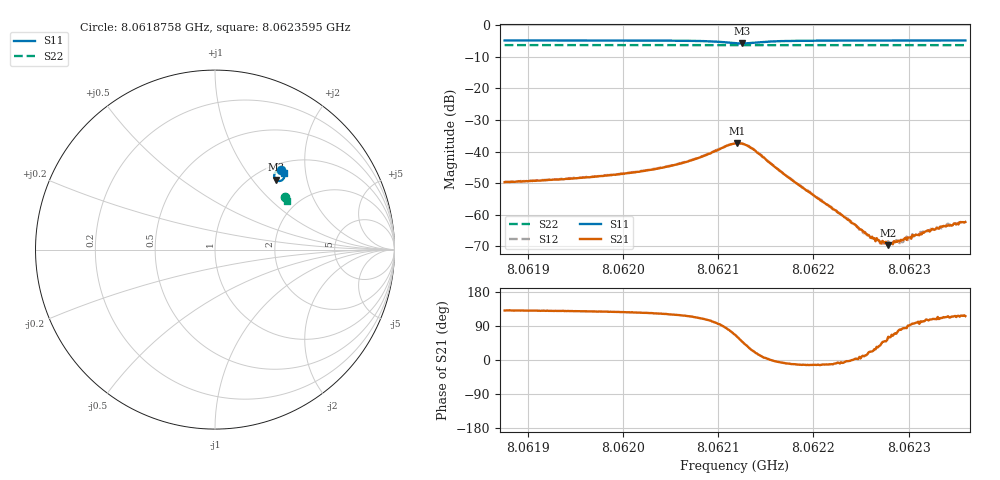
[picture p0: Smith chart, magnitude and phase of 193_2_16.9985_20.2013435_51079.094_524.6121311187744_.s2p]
#  HZ  S  RI  R  50.00
! Rohde & Schwarz Vector Network Analyzer
! Rohde-Schwarz,ZNB20-2Port,1311601062101988,3.16
! Created: UTC 3/20/2024, 11:00:44 PM
! freq[Hz]  re:S11  im:S11  re:S21  im:S21  re:S12  im:S12  re:S22  im:S22
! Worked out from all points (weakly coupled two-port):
!   401 points, 8.0618758 GHz to 8.0623595 GHz, reference 50 ohm
!   highest |S21| = -37.29 dB at 8.0621201 GHz (marker M1); lowest = -69.5 dB at 8.0622785 GHz (marker M2)
!   lowest |S11| = -5.7 dB at 8.0621249 GHz (marker M3), VSWR 3.13, Z = 62.2 + j66.1 ohm
!   |S11| at or under -10 dB: nowhere
!   |S22| runs from -6.3 to -6.3 dB; largest |S21 - S12| = 0.00099
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8.06187584e9  0.3683 0.4425  -0.00214 0.0025  -0.002 0.00262  0.3872 0.2944
8.06195685e9  0.3747 0.4365  -0.00243 0.00303  -0.00224 0.0032  0.39 0.2903
8.06199917e9  0.3785 0.4323  -0.00264 0.00356  -0.00246 0.00381  0.3915 0.2882
8.06203786e9  0.3826 0.4263  -0.00293 0.00459  -0.0027 0.00485  0.393 0.286
8.06207051e9  0.3862 0.4162  -0.00303 0.00653  -0.00267 0.00675  0.394 0.2841
8.06211766e9  0.3546 0.3825  0.00537 0.0124  0.00623 0.012  0.3935 0.281
8.06212008e9  0.3488 0.3837  0.00669 0.0119  0.00753 0.0116  0.3934 0.2809
8.06212491e9  0.3385 0.3898  0.00887 0.0101  0.00942 0.00957  0.3932 0.2811
8.06213701e9  0.3298 0.4151  0.0101 0.00424  0.0103 0.00364  0.3935 0.2818
8.06216965e9  0.3539 0.4391  0.00431 -0.000607  0.00432 -0.00087  0.3959 0.281
8.06219867e9  0.3656 0.4385  0.00207 -0.000485  0.00204 -0.000605  0.3975 0.2792
8.06223373e9  0.3731 0.4359  0.0009 -6.34e-05  0.000921 -0.000143  0.3987 0.2775
8.06225912e9  0.3768 0.434  0.00042 0.000169  0.000416 0.000131  0.3998 0.2763
8.06227363e9  0.3783 0.433  0.000248 0.000279  0.000255 0.000254  0.4002 0.2755
8.06227847e9  0.3789 0.4327  0.00016 0.000293  0.000246 0.000294  0.4003 0.2753
8.06227968e9  0.379 0.4326  0.000175 0.000303  0.000198 0.000296  0.4004 0.2752
8.06228572e9  0.3796 0.4321  0.000123 0.000349  0.000152 0.000337  0.4007 0.2747
8.06229177e9  0.3803 0.4318  7.31e-05 0.000394  8.8e-05 0.000379  0.4008 0.2744
8.06230265e9  0.3814 0.431  -2.86e-05 0.000417  -1.19e-05 0.000443  0.4011 0.274
8.06232563e9  0.3833 0.4296  -0.000189 0.000561  -0.000152 0.000587  0.402 0.2727
8.0623353e9  0.384 0.4289  -0.000231 0.000604  -0.000186 0.000593  0.4022 0.2723
8.06235948e9  0.386 0.4276  -0.000335 0.000693  -0.000296 0.000711  0.403 0.2711
